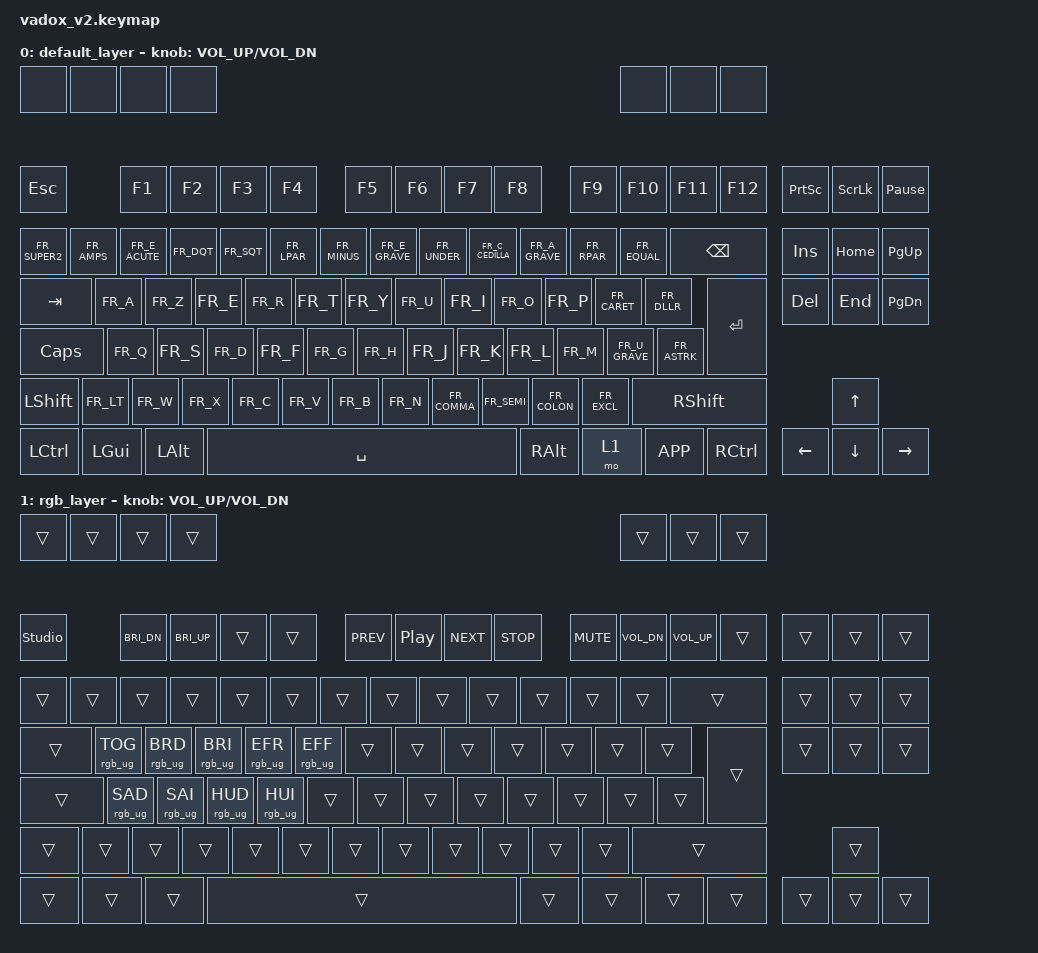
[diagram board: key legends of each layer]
/*
 * Copyright (c) 2026 Lawrence Langat <lawrencelangatmi@gmail.com>
 * SPDX-License-Identifier: Apache-2.0
 */

#include <behaviors.dtsi>
#include <dt-bindings/zmk/keys.h>
#include <dt-bindings/zmk/rgb.h>
#include <cfg_macro.dtsi>
#include "keys_fr.h"

/ {
    keymap {
        compatible = "zmk,keymap";

        default_layer {
            bindings = <
                &kp ESC         &kp F1          &kp F2          &kp F3          &kp F4          &kp F5          &kp F6          &kp F7          &kp F8          &kp F9          &kp F10         &kp F11         &kp F12                         &kp PSCRN       &kp SLCK        &kp PAUSE_BREAK
                &kp FR_SUPER2   &kp FR_AMPS     &kp FR_E_ACUTE  &kp FR_DQT      &kp FR_SQT      &kp FR_LPAR     &kp FR_MINUS    &kp FR_E_GRAVE  &kp FR_UNDER    &kp FR_C_CEDILLA &kp FR_A_GRAVE &kp FR_RPAR     &kp FR_EQUAL    &kp BSPC        &kp INS         &kp HOME        &kp PG_UP
                &kp TAB         &kp FR_A        &kp FR_Z        &kp FR_E        &kp FR_R        &kp FR_T        &kp FR_Y        &kp FR_U        &kp FR_I        &kp FR_O        &kp FR_P        &kp FR_CARET    &kp FR_DLLR     &kp  RET        &kp DEL         &kp END         &kp PG_DN
                &kp CAPS        &kp FR_Q        &kp FR_S        &kp FR_D        &kp FR_F        &kp FR_G        &kp FR_H        &kp FR_J        &kp FR_K        &kp FR_L        &kp FR_M        &kp FR_U_GRAVE  &kp FR_ASTRK
                &kp LSHFT       &kp FR_LT       &kp FR_W        &kp FR_X        &kp FR_C        &kp FR_V        &kp FR_B        &kp FR_N        &kp FR_COMMA    &kp FR_SEMI     &kp FR_COLON    &kp FR_EXCL     &kp RSHFT                                       &kp UP
                &kp LCTRL       &kp LGUI        &kp LALT                                                        &kp SPACE                                                       &kp RALT        &mo 1           &kp K_APP       &kp RCTRL       &kp LEFT        &kp DOWN        &kp RIGHT
                &none        &none        &none        &none        &none        &none        &none
            >;
            sensor-bindings = <&inc_dec_kp C_VOL_UP C_VOL_DN>;
        };

        rgb_layer {
            bindings = <
                &studio_unlock  &kp C_BRI_DN  &kp C_BRI_UP  &trans    &trans    &kp C_PREV  &kp C_PP  &kp C_NEXT  &kp C_STOP  &kp C_MUTE  &kp C_VOL_DN  &kp C_VOL_UP  &trans              &trans    &trans    &trans
                &trans    &trans    &trans    &trans    &trans    &trans    &trans    &trans    &trans    &trans    &trans    &trans    &trans    &trans    &trans    &trans    &trans
                &trans    &rgb_ug RGB_TOG  &rgb_ug RGB_BRD  &rgb_ug RGB_BRI  &rgb_ug RGB_EFR  &rgb_ug RGB_EFF  &trans    &trans    &trans    &trans    &trans    &trans    &trans    &trans    &trans    &trans    &trans
                &trans    &rgb_ug RGB_SAD  &rgb_ug RGB_SAI  &rgb_ug RGB_HUD  &rgb_ug RGB_HUI  &trans    &trans    &trans    &trans    &trans    &trans    &trans    &trans
                &trans    &trans    &trans    &trans    &trans    &trans    &trans    &trans    &trans    &trans    &trans    &trans    &trans                        &trans
                &trans    &trans    &trans                                    &trans                                &trans    &trans    &trans    &trans    &trans    &trans    &trans
                &trans        &trans        &trans        &trans        &trans        &trans        &trans
            >;
            sensor-bindings = <&inc_dec_kp C_VOL_UP C_VOL_DN>;
        };
    };
};
